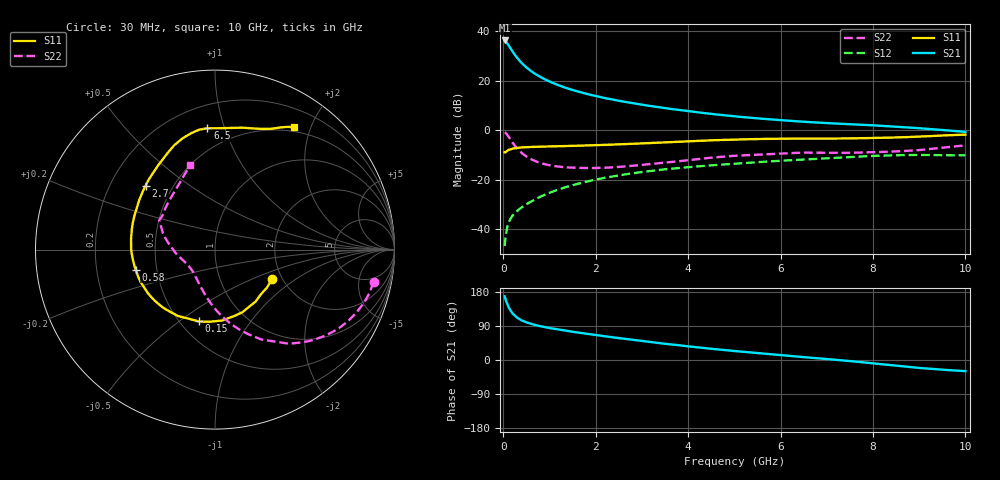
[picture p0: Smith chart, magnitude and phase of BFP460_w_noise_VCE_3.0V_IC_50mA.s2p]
! (c) 2016  Infineon Technologies AG, Munich
! Infineon Technologies  Discrete & RF Semiconductors
! BFP460
! VCE =  3.0 V,  IC =  50 mA
! Common Emitter S-Parameters:  Jan 2016
# GHz  S  MA  R  50
!  f  S11  S21  S12  S22
! GHz  MAG  ANG  MAG  ANG  MAG  ANG  MAG  ANG
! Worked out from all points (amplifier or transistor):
!   229 points, 30 MHz to 10 GHz, reference 50 ohm
!   highest |S21| = 36.3 dB at 30 MHz (marker M1)
!   |S21| within 3 dB of that: start of sweep to 150.8 MHz
!   unconditionally stable (mu >= 1): 1.158 GHz to 7.481 GHz
!   at 280 MHz: K = 0.63, MSG = 31.4 dB, |S12| = -33.1 dB
!   at 1.78 GHz: K = 1.03, MAG = 16.8 dB, |S12| = -20.9 dB
!   at 10 GHz: K = 0.97, MSG = 4.8 dB, |S12| = -10.2 dB
!   lowest NFmin = 1.78 dB at 3.5 GHz
!   S11 on the Smith chart (normalised r, x): 30 MHz: 1.77, -0.67; 150 MHz: 0.62, -0.59; 580 MHz: 0.38, -0.11; 2.7 GHz: 0.35, +0.35; 6.5 GHz: 0.35, +0.88; 10 GHz: 0.43, +1.75
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0.03  0.3576 -27.6  65.38 168.2  0.0045 85.2  0.9019 -11.6
0.05  0.3567 -44.0  62.84 160.3  0.0069 78.5  0.8798 -19.9
0.07  0.3718 -59.8  60.27 153.2  0.009 73.4  0.8433 -27.9
0.09  0.3845 -72.9  56.83 147.0  0.0112 70.8  0.799 -35.1
0.12  0.3989 -89.5  51.5 138.8  0.0136 66.0  0.7287 -44.5
0.15  0.4099 -102.8  46.41 131.9  0.0157 63.6  0.6602 -52.4
0.2  0.4234 -119.1  39.25 123.2  0.0186 60.5  0.563 -62.8
0.26  0.4344 -132.6  32.64 115.8  0.0213 59.7  0.4746 -72.1
0.3  0.4403 -139.5  29.12 111.7  0.0231 59.5  0.4278 -77.5
0.4  0.448 -152.1  22.8 104.4  0.0274 60.3  0.3462 -87.7
0.58  0.4562 -165.8  16.31 96.2  0.0351 62.5  0.2662 -100.5
0.8  0.464 -176.6  11.97 89.2  0.0449 63.9  0.2177 -112.3
1  0.4691 176.1  9.658 84.4  0.054 64.3  0.1954 -120.3
1.3  0.4763 167.3  7.48 78.2  0.0679 63.7  0.1795 -129.7
1.7  0.4869 157.5  5.756 71.0  0.0863 61.7  0.1719 -139.3
2.7  0.5262 137.3  3.643 54.7  0.1303 53.7  0.1867 -160.9
3.4  0.5595 125.8  2.881 44.5  0.1578 47.4  0.2158 -173.6
5.1  0.6499 105.0  1.872 22.7  0.2127 33.7  0.3064 161.9
6.5  0.6774 93.6  1.48 7.6  0.2544 23.0  0.3511 152.2
6.8  0.6761 90.8  1.425 4.7  0.2634 20.9  0.35 151.1
8.4  0.7084 72.3  1.192 -13.8  0.3101 6.3  0.3687 135.4
10  0.8136 57.2  0.925 -29.4  0.3094 -6.5  0.4929 106.1
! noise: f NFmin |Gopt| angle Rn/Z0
0.45  1.86  0.32  -170  0.13
0.9  1.89  0.29  -162  0.14
1.9  1.98  0.4  -140  0.16
3.5  1.78  0.62  -116  0.27
